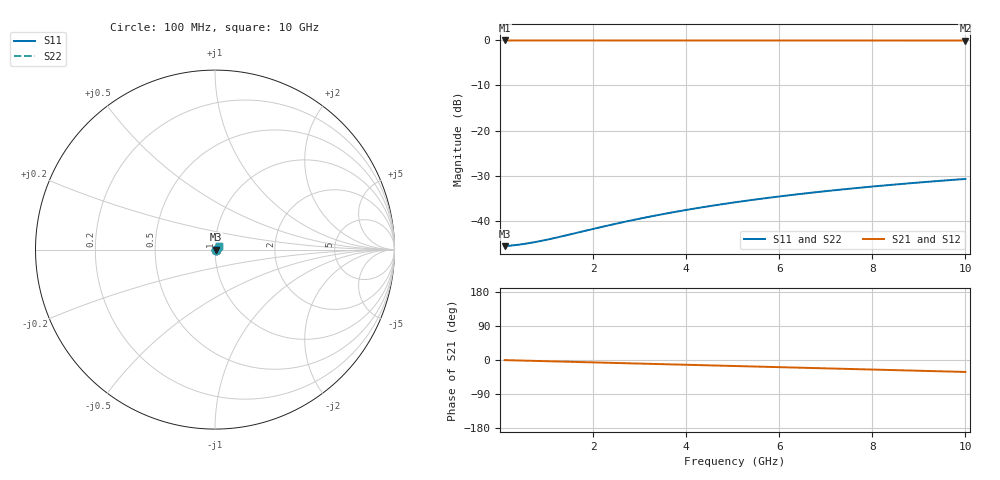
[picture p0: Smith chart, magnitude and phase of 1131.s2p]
# Hz S RI R 50.00
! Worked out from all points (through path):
!   100 points, 100 MHz to 10 GHz, reference 50 ohm
!   highest |S21| = -0.05 dB at 100 MHz (marker M1); lowest = -0.1 dB at 10 GHz (marker M2)
!   group delay of S21, straight-line fit = 8.75 ps
!   lowest |S11| = -45.6 dB at 100 MHz (marker M3), VSWR 1.01, Z = 50.5 + j0.0278 ohm
!   |S11| at or under -10 dB: start of sweep to end of sweep
!   |S22| runs from -45.6 to -30.7 dB; largest |S21 - S12| = 0
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1e8  0.00524 0.000275  0.9947 -0.00546  0.9947 -0.00546  0.00524 0.000275
4e8  0.00533 0.0011  0.9944 -0.0218  0.9944 -0.0218  0.00533 0.0011
6e8  0.00539 0.00164  0.9941 -0.0328  0.9941 -0.0328  0.00539 0.00164
8e8  0.00546 0.00219  0.9936 -0.0437  0.9936 -0.0437  0.00546 0.00219
1e9  0.00554 0.00273  0.9931 -0.0546  0.9931 -0.0546  0.00554 0.00273
1.2e9  0.00562 0.00327  0.9924 -0.0655  0.9924 -0.0655  0.00562 0.00327
1.8e9  0.00594 0.00489  0.9896 -0.0981  0.9896 -0.0981  0.00594 0.00489
2.2e9  0.0062 0.00595  0.9872 -0.1198  0.9872 -0.1198  0.0062 0.00595
2.6e9  0.00652 0.00699  0.9842 -0.1415  0.9842 -0.1415  0.00652 0.00699
3e9  0.00687 0.00803  0.9809 -0.1631  0.9809 -0.1631  0.00687 0.00803
3.4e9  0.00728 0.00904  0.977 -0.1846  0.977 -0.1846  0.00728 0.00904
3.8e9  0.00773 0.01  0.9727 -0.206  0.9727 -0.206  0.00773 0.01
4.2e9  0.00822 0.011  0.9678 -0.2273  0.9678 -0.2273  0.00822 0.011
4.6e9  0.00875 0.012  0.9626 -0.2486  0.9626 -0.2486  0.00875 0.012
5.1e9  0.00948 0.0131  0.9553 -0.2749  0.9553 -0.2749  0.00948 0.0131
5.5e9  0.0101 0.014  0.949 -0.2958  0.949 -0.2958  0.0101 0.014
5.9e9  0.0108 0.0149  0.9422 -0.3166  0.9422 -0.3166  0.0108 0.0149
6.7e9  0.0122 0.0165  0.9273 -0.3577  0.9273 -0.3577  0.0122 0.0165
7.5e9  0.0138 0.018  0.9105 -0.3982  0.9105 -0.3982  0.0138 0.018
8.4e9  0.0158 0.0194  0.8896 -0.4427  0.8896 -0.4427  0.0158 0.0194
9.2e9  0.0176 0.0206  0.8691 -0.4814  0.8691 -0.4814  0.0176 0.0206
1e10  0.0196 0.0216  0.8469 -0.5192  0.8469 -0.5192  0.0196 0.0216
